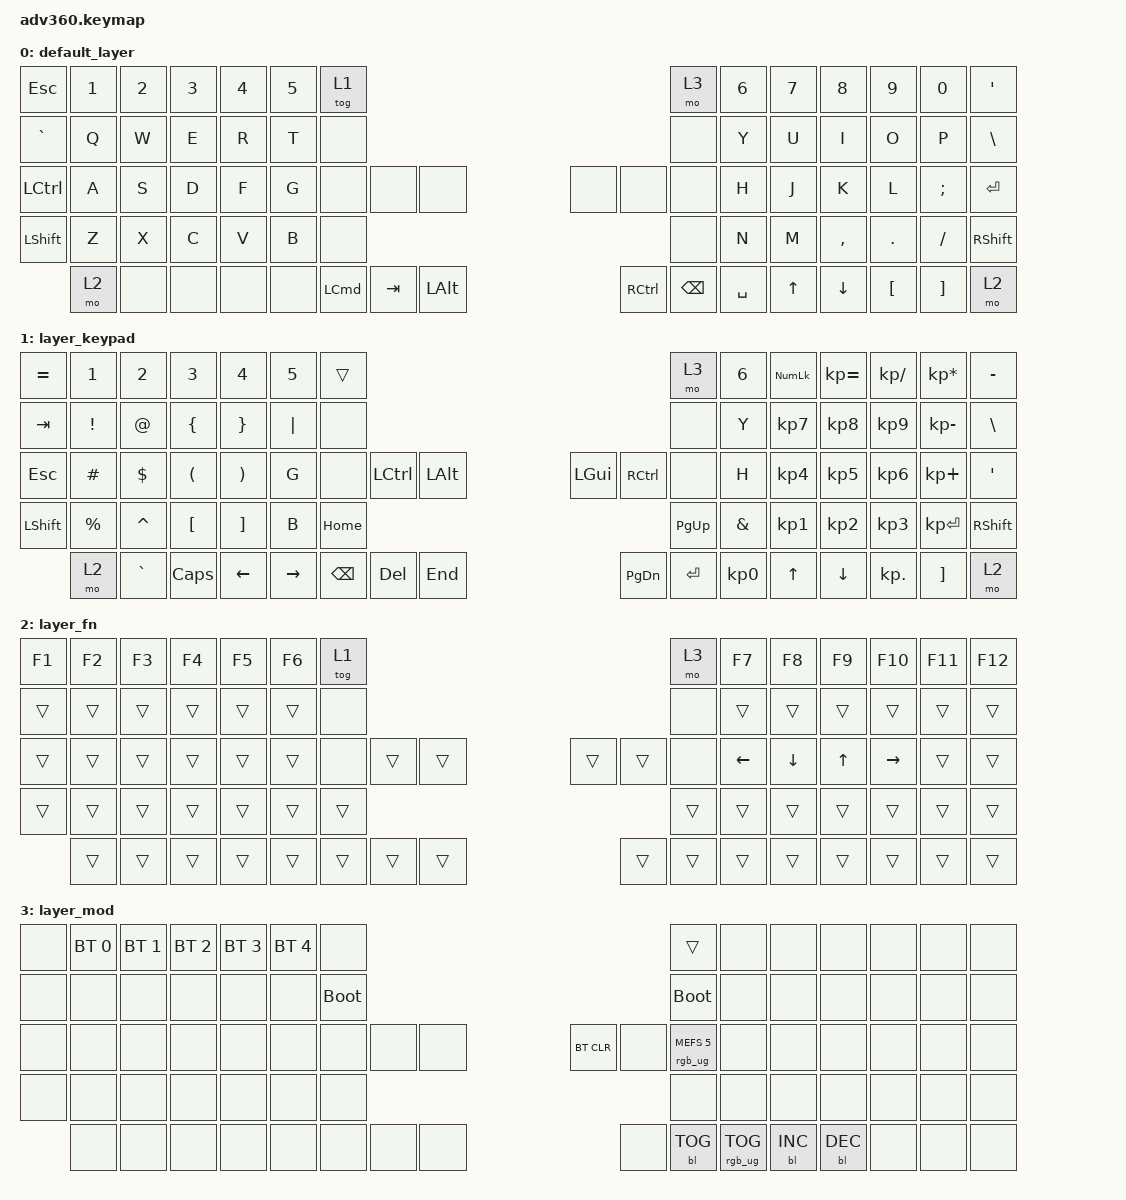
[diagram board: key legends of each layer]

/*
 * Copyright (c) 2020 The ZMK Contributors
 *
 * SPDX-License-Identifier: MIT
 */


/* THIS FILE WAS GENERATED!
 *
 * This file was generated automatically. You may or may not want to
 * edit it directly.
 */

#include <behaviors.dtsi>
#include <dt-bindings/zmk/keys.h>
#include <dt-bindings/zmk/bt.h>
#include <dt-bindings/zmk/rgb.h>
#include <dt-bindings/zmk/backlight.h>

/ {
  behaviors {
    #include "macros.dtsi"

    hm: homerow_mods {
        compatible = "zmk,behavior-hold-tap";
        label = "HOMEROW_MODS";
        #binding-cells = <2>;
        tapping-term-ms = <200>;
        quick_tap_ms = <175>;
        flavor = "tap-preferred";
        bindings = <&kp>, <&kp>;
    };
  };

    keymap {
        compatible = "zmk,keymap";


        default_layer {
            bindings = <
       &kp ESCAPE  &kp N1  &kp N2  &kp N3  &kp N4  &kp N5                      &tog 1                                                                               &mo 3  &kp N6  &kp N7     &kp N8    &kp N9    &kp N0  &kp SINGLE_QUOTE
        &kp GRAVE   &kp Q   &kp W   &kp E   &kp R   &kp T                       &none                                                                               &none   &kp Y   &kp U      &kp I     &kp O     &kp P          &kp BSLH
 &kp LEFT_CONTROL   &kp A   &kp S   &kp D   &kp F   &kp G                       &none    &none         &none                              &none          &none      &none   &kp H   &kp J      &kp K     &kp L  &kp SEMI         &kp ENTER
        &kp LSHFT   &kp Z   &kp X   &kp C   &kp V   &kp B                                              &none                              &none                             &kp N   &kp M  &kp COMMA   &kp DOT  &kp FSLH         &kp RSHFT
            &mo 2   &none   &none   &none   &none                    &kp LEFT_COMMAND  &kp TAB  &kp LEFT_ALT                  &kp RIGHT_CONTROL  &kp BACKSPACE  &kp SPACE          &kp UP   &kp DOWN  &kp LBKT  &kp RBKT             &mo 2
            >;
        };

        layer_keypad {
            bindings = <
 &kp EQUAL           &kp N1      &kp N2                &kp N3                 &kp N4    &kp N5              &trans                                                                 &mo 3         &kp N6  &kp KP_NUM  &kp KP_EQUAL  &kp KP_DIVIDE  &kp KP_MULTIPLY  &kp MINUS
   &kp TAB  &kp EXCLAMATION      &kp AT        &kp LEFT_BRACE        &kp RIGHT_BRACE  &kp PIPE               &none                                                                 &none          &kp Y   &kp KP_N7     &kp KP_N8      &kp KP_N9     &kp KP_MINUS   &kp BSLH
   &kp ESC        &kp POUND  &kp DOLLAR  &kp LEFT_PARENTHESIS  &kp RIGHT_PARENTHESIS     &kp G               &none  &kp LCTRL  &kp LALT                   &kp LGUI  &kp RCTRL      &none          &kp H   &kp KP_N4     &kp KP_N5      &kp KP_N6      &kp KP_PLUS    &kp SQT
 &kp LSHFT      &kp PERCENT   &kp CARET      &kp LEFT_BRACKET      &kp RIGHT_BRACKET     &kp B                                 &kp HOME                  &kp PG_UP                        &kp AMPERSAND   &kp KP_N1     &kp KP_N2      &kp KP_N3     &kp KP_ENTER  &kp RSHFT
     &mo 2        &kp GRAVE    &kp CAPS              &kp LEFT              &kp RIGHT                      &kp BSPC    &kp DEL   &kp END                  &kp PG_DN  &kp ENTER  &kp KP_N0                     &kp UP      &kp DOWN     &kp KP_DOT         &kp RBKT      &mo 2
            >;
        };

        layer_fn {
            bindings = <
 &kp F1  &kp F2  &kp F3  &kp F4  &kp F5  &kp F6            &tog 1                                                   &mo 3          &kp F7          &kp F8        &kp F9          &kp F10  &kp F11  &kp F12
 &trans  &trans  &trans  &trans  &trans  &trans             &none                                                   &none          &trans          &trans        &trans           &trans   &trans   &trans
 &trans  &trans  &trans  &trans  &trans  &trans             &none  &trans  &trans                  &trans  &trans   &none  &kp LEFT_ARROW  &kp DOWN_ARROW  &kp UP_ARROW  &kp RIGHT_ARROW   &trans   &trans
 &trans  &trans  &trans  &trans  &trans  &trans                            &trans                  &trans                          &trans          &trans        &trans           &trans   &trans   &trans
 &trans  &trans  &trans  &trans  &trans                    &trans  &trans  &trans                  &trans  &trans  &trans                          &trans        &trans           &trans   &trans   &trans
            >;
        };

        layer_mod {
            bindings = <
  &none  &bt BT_SEL 0  &bt BT_SEL 1  &bt BT_SEL 2  &bt BT_SEL 3  &bt BT_SEL 4                  &none                                                                          &trans   &none       &none       &none   &none   &none   &none
  &none         &none         &none         &none         &none         &none            &bootloader                                                                     &bootloader   &none       &none       &none   &none   &none   &none
  &none         &none         &none         &none         &none         &none                  &none   &none   &none                  &bt BT_CLR       &none  &rgb_ug RGB_MEFS_CMD 5   &none       &none       &none   &none   &none   &none
  &none         &none         &none         &none         &none         &none                                  &none                       &none                                       &none       &none       &none   &none   &none   &none
  &none         &none         &none         &none         &none                                &none   &none   &none                       &none  &bl BL_TOG         &rgb_ug RGB_TOG          &bl BL_INC  &bl BL_DEC   &none   &none   &none
            >;
        };

    };
};
